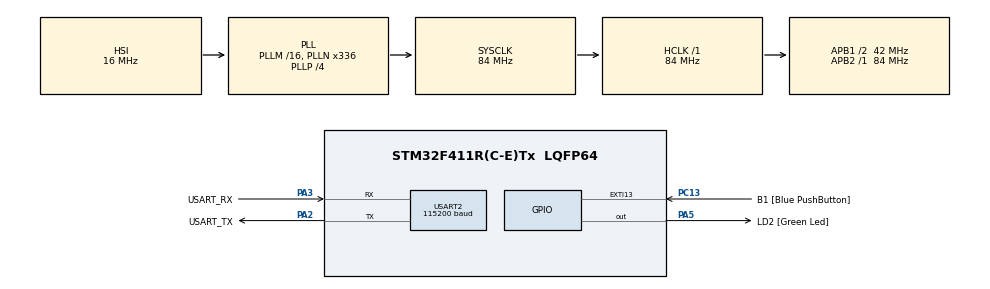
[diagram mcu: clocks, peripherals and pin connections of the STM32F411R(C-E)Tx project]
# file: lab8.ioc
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Mcu.Family=STM32F4
Mcu.Name=STM32F411R(C-E)Tx
Mcu.Package=LQFP64
NVIC.PriorityGroup=NVIC_PRIORITYGROUP_0
NVIC.USART2_IRQn=true\:0\:0\:false\:false\:true\:true\:true
PA13.GPIO_Label=TMS
PA13.Mode=Serial_Wire
PA13.Signal=SYS_JTMS-SWDIO
PA14.GPIO_Label=TCK
PA14.Mode=Serial_Wire
PA14.Signal=SYS_JTCK-SWCLK
PA2.GPIO_Label=USART_TX
PA2.Mode=Asynchronous
PA2.Signal=USART2_TX
PA3.GPIO_Label=USART_RX
PA3.Mode=Asynchronous
PA3.Signal=USART2_RX
PA5.GPIO_Label=LD2 [Green Led]
PA5.Signal=GPIO_Output
PB3.GPIO_Label=SWO
PB3.Signal=SYS_JTDO-SWO
PC13-ANTI_TAMP.GPIO_Label=B1 [Blue PushButton]
PC13-ANTI_TAMP.GPIO_ModeDefaultEXTI=GPIO_MODE_IT_FALLING
PC13-ANTI_TAMP.Signal=GPXTI13
PC14-OSC32_IN.Mode=LSE-External-Oscillator
PC14-OSC32_IN.Signal=RCC_OSC32_IN
PC15-OSC32_OUT.Mode=LSE-External-Oscillator
PC15-OSC32_OUT.Signal=RCC_OSC32_OUT
PH0\ -\ OSC_IN.Mode=HSE-External-Clock-Source
PH0\ -\ OSC_IN.Signal=RCC_OSC_IN
PH1\ -\ OSC_OUT.Mode=HSE-External-Clock-Source
PH1\ -\ OSC_OUT.Signal=RCC_OSC_OUT
ProjectManager.HeapSize=0x200
ProjectManager.StackSize=0x400
ProjectManager.TargetToolchain=STM32CubeIDE
RCC.48MHZClocksFreq_Value=84000000
RCC.AHBFreq_Value=84000000
RCC.APB1CLKDivider=RCC_HCLK_DIV2
RCC.APB1Freq_Value=42000000
RCC.APB1TimFreq_Value=84000000
RCC.APB2Freq_Value=84000000
RCC.APB2TimFreq_Value=84000000
RCC.CortexFreq_Value=84000000
RCC.FLatency-AdvancedSettings=FLASH_LATENCY_2
RCC.HCLKFreq_Value=84000000
RCC.HSE_VALUE=8000000
RCC.HSI_VALUE=16000000
RCC.PLLN=336
RCC.PLLP=RCC_PLLP_DIV4
RCC.SYSCLKFreq_VALUE=84000000
RCC.SYSCLKSource=RCC_SYSCLKSOURCE_PLLCLK
RCC.VCOOutputFreq_Value=336000000
USART2.BaudRate=115200
USART2.StopBits=STOPBITS_1
USART2.VirtualMode=VM_ASYNC
VP_TIM11_VS_ClockSourceINT.Mode=Enable_Timer
board=NUCLEO-F411RE

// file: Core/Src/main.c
/* USER CODE BEGIN Header */
/**
 ******************************************************************************
 * @file           : main.c
 * @brief          : Main program body
 ******************************************************************************
 * @attention
 *
 * <h2><center>&copy; Copyright (c) 2021 STMicroelectronics.
 * All rights reserved.</center></h2>
 *
 * This software component is licensed by ST under BSD 3-Clause license,
 * the "License"; You may not use this file except in compliance with the
 * License. You may obtain a copy of the License at:
 *                        opensource.org/licenses/BSD-3-Clause
 *
 ******************************************************************************
 */
/* USER CODE END Header */
#include "main.h"

/* USER CODE BEGIN Includes */
#include <stdio.h>
#include <string.h>
/* USER CODE END Includes */

TIM_HandleTypeDef htim11;

UART_HandleTypeDef huart2;

/* USER CODE BEGIN PV */
char TxDataBuffer[32] =
{ 0 };
char RxDataBuffer[32] =
{ 0 };
char swap[32] =
{ 0 };
uint8_t state=1;
uint8_t stateled=0;
uint8_t r=0;
uint8_t r1=0;
uint8_t n=0;
uint8_t n1=0;
char temp[1000]={0};
uint32_t blink=0;
uint32_t led=0;
uint32_t timestamp=0;
uint8_t fq=1;
uint8_t f=0;
float period=1;
enum{start,waitmenu,mode1,mode2,wait1,wait2,A0,S0,D0,X0,pip,X1,X2,press};
/* USER CODE END PV */

void SystemClock_Config(void);
static void MX_GPIO_Init(void);
static void MX_USART2_UART_Init(void);
static void MX_TIM11_Init(void);
/* USER CODE BEGIN PFP */
void UARTRecieveAndResponsePolling();
int16_t UARTRecieveIT();
/* USER CODE END PFP */

int main(void)
{

  /* MCU Configuration--------------------------------------------------------*/

  /* Reset of all peripherals, Initializes the Flash interface and the Systick. */
  HAL_Init();

  /* Configure the system clock */
  SystemClock_Config();

  /* Initialize all configured peripherals */
  MX_GPIO_Init();
  MX_USART2_UART_Init();
  MX_TIM11_Init();
  /* USER CODE BEGIN 2 */
	  sprintf(TxDataBuffer,"\r\n Mode select \r\n 0=LED ");
	  HAL_UART_Transmit(&huart2, (uint8_t*)TxDataBuffer, strlen(TxDataBuffer), 1000);
	  sprintf(TxDataBuffer,"\r\n 1=buttonStatus \r\n ");
	  HAL_UART_Transmit(&huart2, (uint8_t*)TxDataBuffer, strlen(TxDataBuffer), 1000);

  /* USER CODE END 2 */

  /* Infinite loop */
  /* USER CODE BEGIN WHILE */
	while (1)
	{
		HAL_UART_Receive_IT(&huart2,  (uint8_t*)RxDataBuffer, 32);
		int16_t inputchar = UARTRecieveIT();
//       if(inputchar!=-1){

		switch(state)
			{
			case waitmenu :
				 if(inputchar!=-1){
				  if (inputchar==48)
				  {   sprintf(TxDataBuffer,"\r\n a=+1hz\r\n s=-1hz");HAL_UART_Transmit(&huart2, (uint8_t*)TxDataBuffer, strlen(TxDataBuffer), 1000);
					  sprintf(TxDataBuffer,"\r\n d=onoff \r\n x=back \r\n");HAL_UART_Transmit(&huart2, (uint8_t*)TxDataBuffer, strlen(TxDataBuffer), 1000);
					  state =wait1 ;
					  stateled = wait1;
					  n1=0;
				  }
				  else if (inputchar==49)
				  {
					 sprintf(TxDataBuffer,"\r\nMode 1\r\n");
					HAL_UART_Transmit(&huart2, (uint8_t*)TxDataBuffer, strlen(TxDataBuffer), 1000);
					sprintf(TxDataBuffer,"\r\n x=back \r\n");
					HAL_UART_Transmit(&huart2, (uint8_t*)TxDataBuffer, strlen(TxDataBuffer), 1000);
					state=wait2;
				  }
				  else if (inputchar!=49 |inputchar!=48 )
				  {
				  state=X1;
				  }
				 }

			break;

			case wait2:
				r = HAL_GPIO_ReadPin(GPIOC, GPIO_PIN_13);
				//r1=r;
				if (r==0)
				{   sprintf(TxDataBuffer,"\r\n status = press \r\n");
					HAL_UART_Transmit(&huart2, (uint8_t*)TxDataBuffer, strlen(TxDataBuffer), 1000);

					state =press;
				}
				else if(r==1)
				{
					sprintf(TxDataBuffer,"\r\n status = unpress \r\n");
					HAL_UART_Transmit(&huart2, (uint8_t*)TxDataBuffer, strlen(TxDataBuffer), 1000);
					state =press;
				}
				if(inputchar!=-1){
					if (inputchar=='x'){
					state = X2;}
				}
			break;

			case press:
				if(inputchar!=-1){
				if (inputchar=='x'){
				state = X2;}
				if (inputchar!='x'){
					sprintf(TxDataBuffer,"\r\n error\r\n");
					HAL_UART_Transmit(&huart2, (uint8_t*)TxDataBuffer, strlen(TxDataBuffer), 1000);
				state =press;}
				}
				else{
					state =press;
				}
			break;

			case X1:
				sprintf(TxDataBuffer,"\r\n error\r\n");
				HAL_UART_Transmit(&huart2, (uint8_t*)TxDataBuffer, strlen(TxDataBuffer), 1000);
				state=waitmenu;
			break;

			case X2:
			n1=0;
			  sprintf(TxDataBuffer,"\r\n Mode select \r\n 0=LED ");
			  HAL_UART_Transmit(&huart2, (uint8_t*)TxDataBuffer, strlen(TxDataBuffer), 1000);
			  sprintf(TxDataBuffer,"\r\n 1=buttonStatus \r\n ");
			  HAL_UART_Transmit(&huart2, (uint8_t*)TxDataBuffer, strlen(TxDataBuffer), 1000);
			  state = waitmenu;
			break;
		}

		switch(stateled)
		{

		case wait1:
		if(inputchar!=-1){
			if (inputchar=='a')
			{ stateled=A0;f=1;}
			else if (inputchar=='s')
			{stateled =S0;}
			else if (inputchar=='d')
			{HAL_GPIO_TogglePin(GPIOA, GPIO_PIN_5);
			 stateled=wait1;}
			else if (inputchar=='x')
			{state=X2;
			 stateled=0;}
			else if (inputchar=='0'&& n1==0)
			{
			 n1=1;
			 stateled=wait1;
			}

		else{
			sprintf(TxDataBuffer,"\r\n error\r\n");
			HAL_UART_Transmit(&huart2, (uint8_t*)TxDataBuffer, strlen(TxDataBuffer), 1000);
			}
		}

//		else
//		{stateled=wait1;}
//		break;

		break;

		case A0:
			fq=fq+1;
			period = 1.00/fq;
			stateled = pip;
		break;
		case S0:
			fq=fq-1;
			period = 1.00/fq;
			if(fq<0)
			{fq=0;
			 period=0;
			}
			stateled = pip;
		break;
		case pip:
//			if(HAL_GetTick()-timestamp>=period*1000)
//			  {  timestamp=HAL_GetTick();
//			  HAL_GPIO_TogglePin(LD2_GPIO_Port, LD2_Pin);
//			  }
			sprintf(TxDataBuffer,"\r\n frequency = [%u]\r\n",fq);
			HAL_UART_Transmit(&huart2, (uint8_t*)TxDataBuffer, strlen(TxDataBuffer), 1000);
			stateled=wait1;

		break;

		}
		if(HAL_GetTick()-timestamp>=period*1000 &&f==1)
			{  timestamp=HAL_GetTick();
			   HAL_GPIO_TogglePin(LD2_GPIO_Port, LD2_Pin);
			}

    /* USER CODE END WHILE */

	}
}

void SystemClock_Config(void)
{
  RCC_OscInitTypeDef RCC_OscInitStruct = {0};
  RCC_ClkInitTypeDef RCC_ClkInitStruct = {0};

  /** Configure the main internal regulator output voltage
  */
  __HAL_RCC_PWR_CLK_ENABLE();
  __HAL_PWR_VOLTAGESCALING_CONFIG(PWR_REGULATOR_VOLTAGE_SCALE1);
  /** Initializes the RCC Oscillators according to the specified parameters
  * in the RCC_OscInitTypeDef structure.
  */
  RCC_OscInitStruct.OscillatorType = RCC_OSCILLATORTYPE_HSI;
  RCC_OscInitStruct.HSIState = RCC_HSI_ON;
  RCC_OscInitStruct.HSICalibrationValue = RCC_HSICALIBRATION_DEFAULT;
  RCC_OscInitStruct.PLL.PLLState = RCC_PLL_ON;
  RCC_OscInitStruct.PLL.PLLSource = RCC_PLLSOURCE_HSI;
  RCC_OscInitStruct.PLL.PLLM = 16;
  RCC_OscInitStruct.PLL.PLLN = 336;
  RCC_OscInitStruct.PLL.PLLP = RCC_PLLP_DIV4;
  RCC_OscInitStruct.PLL.PLLQ = 4;
  if (HAL_RCC_OscConfig(&RCC_OscInitStruct) != HAL_OK)
  {
    Error_Handler();
  }
  /** Initializes the CPU, AHB and APB buses clocks
  */
  RCC_ClkInitStruct.ClockType = RCC_CLOCKTYPE_HCLK|RCC_CLOCKTYPE_SYSCLK
                              |RCC_CLOCKTYPE_PCLK1|RCC_CLOCKTYPE_PCLK2;
  RCC_ClkInitStruct.SYSCLKSource = RCC_SYSCLKSOURCE_PLLCLK;
  RCC_ClkInitStruct.AHBCLKDivider = RCC_SYSCLK_DIV1;
  RCC_ClkInitStruct.APB1CLKDivider = RCC_HCLK_DIV2;
  RCC_ClkInitStruct.APB2CLKDivider = RCC_HCLK_DIV1;

  if (HAL_RCC_ClockConfig(&RCC_ClkInitStruct, FLASH_LATENCY_2) != HAL_OK)
  {
    Error_Handler();
  }
}

static void MX_TIM11_Init(void)
{

  htim11.Instance = TIM11;
  htim11.Init.Prescaler = 0;
  htim11.Init.CounterMode = TIM_COUNTERMODE_UP;
  htim11.Init.Period = 65535;
  htim11.Init.ClockDivision = TIM_CLOCKDIVISION_DIV1;
  htim11.Init.AutoReloadPreload = TIM_AUTORELOAD_PRELOAD_DISABLE;
  if (HAL_TIM_Base_Init(&htim11) != HAL_OK)
  {
    Error_Handler();
  }

}

static void MX_USART2_UART_Init(void)
{

  huart2.Instance = USART2;
  huart2.Init.BaudRate = 115200;
  huart2.Init.WordLength = UART_WORDLENGTH_8B;
  huart2.Init.StopBits = UART_STOPBITS_1;
  huart2.Init.Parity = UART_PARITY_NONE;
  huart2.Init.Mode = UART_MODE_TX_RX;
  huart2.Init.HwFlowCtl = UART_HWCONTROL_NONE;
  huart2.Init.OverSampling = UART_OVERSAMPLING_16;
  if (HAL_UART_Init(&huart2) != HAL_OK)
  {
    Error_Handler();
  }

}

static void MX_GPIO_Init(void)
{
  GPIO_InitTypeDef GPIO_InitStruct = {0};

  /* GPIO Ports Clock Enable */
  __HAL_RCC_GPIOC_CLK_ENABLE();
  __HAL_RCC_GPIOH_CLK_ENABLE();
  __HAL_RCC_GPIOA_CLK_ENABLE();
  __HAL_RCC_GPIOB_CLK_ENABLE();

  /*Configure GPIO pin Output Level */
  HAL_GPIO_WritePin(LD2_GPIO_Port, LD2_Pin, GPIO_PIN_RESET);

  /*Configure GPIO pin : B1_Pin */
  GPIO_InitStruct.Pin = B1_Pin;
  GPIO_InitStruct.Mode = GPIO_MODE_IT_FALLING;
  GPIO_InitStruct.Pull = GPIO_NOPULL;
  HAL_GPIO_Init(B1_GPIO_Port, &GPIO_InitStruct);

  /*Configure GPIO pin : LD2_Pin */
  GPIO_InitStruct.Pin = LD2_Pin;
  GPIO_InitStruct.Mode = GPIO_MODE_OUTPUT_PP;
  GPIO_InitStruct.Pull = GPIO_NOPULL;
  GPIO_InitStruct.Speed = GPIO_SPEED_FREQ_LOW;
  HAL_GPIO_Init(LD2_GPIO_Port, &GPIO_InitStruct);

}

/* USER CODE BEGIN 4 */
void UARTRecieveAndResponsePolling()
{
	char Recieve[32]={0};

	HAL_UART_Receive(&huart2, (uint8_t*)Recieve, 32, 1000);

	sprintf(TxDataBuffer, "Received:[%s]\r\n", Recieve);
	HAL_UART_Transmit(&huart2, (uint8_t*)TxDataBuffer, strlen(TxDataBuffer), 1000);

}

int16_t UARTRecieveIT()
{
	static uint32_t dataPos =0;
	int16_t data=-1;

	if(huart2.RxXferSize - huart2.RxXferCount!=dataPos)
	{
		data=RxDataBuffer[dataPos];
		dataPos= (dataPos+1)%huart2.RxXferSize;
	}
	return data;
}

void HAL_UART_RxCpltCallback(UART_HandleTypeDef *huart)
{
	sprintf(TxDataBuffer, "Received:[%s]\r\n", RxDataBuffer);
	//HAL_UART_Transmit(&huart2, (uint8_t*)TxDataBuffer, strlen(TxDataBuffer), 1000);
}
/* USER CODE END 4 */

void Error_Handler(void)
{
	__disable_irq();
	while (1)
	{
	}
}

/************************ (C) COPYRIGHT STMicroelectronics *****END OF FILE****/
